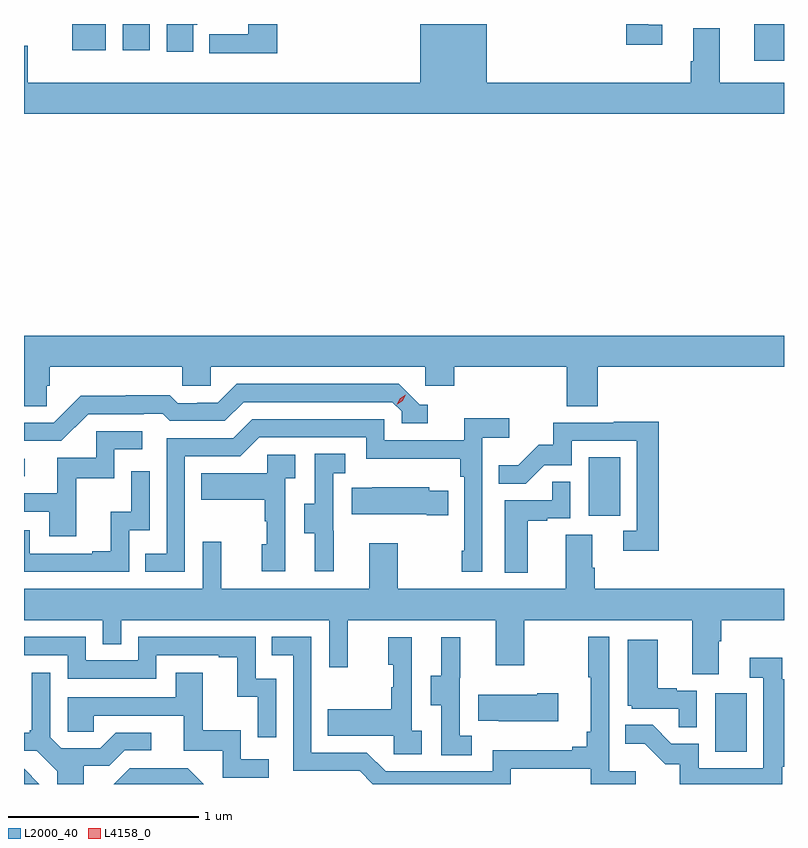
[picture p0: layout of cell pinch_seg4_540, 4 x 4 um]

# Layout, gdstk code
import gdstk
lib = gdstk.Library(unit=1e-6, precision=1e-09)
def R(c, l, rs):  # rectangles x0, y0, x1, y1
    for r in rs: c.add(gdstk.rectangle(r[:2], r[2:], *l))
def P(c, l, *ps):  # polygons
    for p in ps: c.add(gdstk.Polygon(p, *l))
L2000_40 = (2000, 40)
L4158_0 = (4158, 0)

pinch_seg4_540 = lib.new_cell('pinch_seg4_540')
R(pinch_seg4_540, L2000_40, [(1123.514,784.14,1123.678,784.447), (1122.848,785.382,1123.012,785.689), (1119.875,785.589,1119.88,785.682), (1123.718,787.776,1123.875,787.969), (1120.13,787.832,1120.306,787.969), (1120.394,787.832,1120.537,787.969)])
P(pinch_seg4_540, L2000_40, [(1120.765,787.965),(1120.786,787.965),(1120.786,787.969),(1120.625,787.969),(1120.625,787.824),(1120.765,787.824)],
  [(1123.234,787.965),(1123.161,787.965),(1123.161,787.969),(1123.045,787.969),(1123.045,787.86),(1123.234,787.86)],
  [(1123.875,787.66),(1123.537,787.66),(1123.537,787.946),(1123.397,787.946),(1123.397,787.772),(1123.385,787.772),(1123.385,787.66),(1122.31,787.66),(1122.31,787.969),(1121.96,787.969),(1121.96,787.66),(1119.895,787.66),(1119.895,787.855),(1119.875,787.855),(1119.875,787.496),(1123.875,787.496)],
  [(1121.207,787.969),(1121.056,787.969),(1121.056,787.916),(1120.851,787.916),(1120.851,787.814),(1121.207,787.814)],
  [(1119.995,786.066),(1120.01,786.066),(1120.01,786.164),(1120.707,786.164),(1120.707,786.066),(1120.857,786.066),(1120.857,786.164),(1121.988,786.164),(1121.988,786.066),(1122.14,786.066),(1122.14,786.164),(1122.731,786.164),(1122.731,785.956),(1122.896,785.956),(1122.896,786.164),(1123.875,786.164),(1123.875,786.328),(1119.875,786.328),(1119.875,785.956),(1119.995,785.956)],
  [(1120.212,785.916),(1120.505,785.916),(1120.505,785.919),(1120.604,785.919),(1120.643,785.88),(1120.932,785.88),(1121.031,785.979),(1121.814,785.979),(1121.862,785.931),(1121.862,785.868),(1122.001,785.868),(1122.001,785.964),(1121.958,785.964),(1121.847,786.075),(1120.994,786.075),(1120.895,785.976),(1120.788,785.976),(1120.788,785.973),(1120.685,785.973),(1120.643,786.016),(1120.41,786.016),(1120.41,786.013),(1120.174,786.013),(1120.032,785.871),(1119.875,785.871),(1119.875,785.775),(1120.071,785.775)],
  [(1120.722,785.694),(1121.013,785.694),(1121.112,785.793),(1121.676,785.793),(1121.676,785.681),(1122.172,785.681),(1122.172,785.585),(1122.192,785.585),(1122.192,785.197),(1122.18,785.197),(1122.18,785.085),(1122.288,785.085),(1122.288,785.792),(1122.43,785.792),(1122.43,785.894),(1122.191,785.894),(1122.191,785.778),(1121.772,785.778),(1121.772,785.889),(1121.075,785.889),(1120.976,785.79),(1120.626,785.79),(1120.626,785.181),(1120.513,785.181),(1120.513,785.085),(1120.722,785.085)],
  [(1123.217,785.876),(1122.979,785.876),(1122.979,785.871),(1122.661,785.871),(1122.661,785.754),(1122.584,785.754),(1122.477,785.647),(1122.373,785.647),(1122.373,785.548),(1122.516,785.548),(1122.614,785.646),(1122.759,785.646),(1122.759,785.775),(1123.101,785.775),(1123.101,785.301),(1123.029,785.301),(1123.029,785.196),(1123.217,785.196)],
  [(1120.151,785.577),(1120.35,785.577),(1120.35,785.73),(1120.498,785.73),(1120.498,785.826),(1120.254,785.826),(1120.254,785.685),(1120.049,785.685),(1120.049,785.499),(1119.875,785.499),(1119.875,785.403),(1120.007,785.403),(1120.007,785.274),(1120.151,785.274)],
  [(1121.504,785.301),(1121.502,785.301),(1121.502,785.605),(1121.566,785.605),(1121.566,785.708),(1121.406,785.708),(1121.406,785.445),(1121.351,785.445),(1121.351,785.29),(1121.405,785.29),(1121.405,785.088),(1121.504,785.088)],
  [(1121.25,785.579),(1121.302,785.579),(1121.302,785.703),(1121.154,785.703),(1121.154,785.605),(1120.807,785.605),(1120.807,785.465),(1121.142,785.465),(1121.142,785.351),(1121.152,785.351),(1121.152,785.232),(1121.126,785.232),(1121.126,785.088),(1121.25,785.088)],
  [(1120.428,785.304),(1120.536,785.304),(1120.536,785.614),(1120.44,785.614),(1120.44,785.402),(1120.331,785.402),(1120.331,785.194),(1120.235,785.194),(1120.235,785.181),(1119.906,785.181),(1119.906,785.304),(1119.875,785.304),(1119.875,785.085),(1120.428,785.085)],
  [(1122.526,785.355),(1122.629,785.355),(1122.629,785.367),(1122.75,785.367),(1122.75,785.561),(1122.655,785.561),(1122.655,785.463),(1122.404,785.463),(1122.404,785.081),(1122.526,785.081)],
  [(1122.107,785.512),(1122.009,785.512),(1122.009,785.53),(1121.707,785.53),(1121.707,785.527),(1121.599,785.527),(1121.599,785.39),(1121.996,785.39),(1121.996,785.383),(1122.107,785.383)],
  [(1121.693,785.236),(1121.693,784.996),(1120.913,784.996),(1120.913,785.245),(1120.815,785.245),(1120.815,784.996),(1119.875,784.996),(1119.875,784.832),(1120.29,784.832),(1120.29,784.705),(1120.386,784.705),(1120.386,784.832),(1121.481,784.832),(1121.481,784.584),(1121.579,784.584),(1121.579,784.832),(1122.359,784.832),(1122.359,784.593),(1122.507,784.593),(1122.507,784.832),(1123.391,784.832),(1123.391,784.546),(1123.531,784.546),(1123.531,784.72),(1123.544,784.72),(1123.544,784.832),(1123.875,784.832),(1123.875,784.996),(1122.878,784.996),(1122.878,785.108),(1122.865,785.108),(1122.865,785.282),(1122.725,785.282),(1122.725,784.996),(1121.841,784.996),(1121.841,785.236)],
  [(1122.438,784.05),(1122.857,784.05),(1122.857,783.969),(1123.096,783.969),(1123.096,784.036),(1122.954,784.036),(1122.954,784.744),(1122.846,784.744),(1122.846,784.531),(1122.857,784.531),(1122.857,784.243),(1122.838,784.243),(1122.838,784.166),(1122.761,784.166),(1122.761,784.147),(1122.342,784.147),(1122.342,784.035),(1121.778,784.035),(1121.679,784.134),(1121.388,784.134),(1121.388,784.743),(1121.179,784.743),(1121.179,784.647),(1121.292,784.647),(1121.292,784.038),(1121.642,784.038),(1121.711,783.969),(1122.438,783.969)],
  [(1121.202,784.524),(1121.094,784.524),(1121.094,784.743),(1120.476,784.743),(1120.476,784.62),(1120.2,784.62),(1120.2,784.743),(1119.875,784.743),(1119.875,784.647),(1120.104,784.647),(1120.104,784.524),(1120.572,784.524),(1120.572,784.647),(1120.901,784.647),(1120.901,784.635),(1120.997,784.635),(1120.997,784.427),(1121.106,784.427),(1121.106,784.215),(1121.202,784.215)],
  [(1122.232,784.223),(1122.168,784.223),(1122.168,784.527),(1122.17,784.527),(1122.17,784.741),(1122.071,784.741),(1122.071,784.539),(1122.017,784.539),(1122.017,784.384),(1122.072,784.384),(1122.072,784.12),(1122.232,784.12)],
  [(1121.968,784.25),(1121.916,784.25),(1121.916,784.741),(1121.792,784.741),(1121.792,784.596),(1121.818,784.596),(1121.818,784.478),(1121.808,784.478),(1121.808,784.363),(1121.473,784.363),(1121.473,784.223),(1121.82,784.223),(1121.82,784.125),(1121.968,784.125)],
  [(1123.416,784.461),(1123.31,784.461),(1123.31,784.474),(1123.21,784.474),(1123.21,784.729),(1123.052,784.729),(1123.052,784.38),(1123.074,784.38),(1123.074,784.365),(1123.321,784.365),(1123.321,784.267),(1123.416,784.267)],
  [(1123.865,784.06),(1123.875,784.06),(1123.875,784.52),(1123.865,784.52),(1123.865,784.633),(1123.695,784.633),(1123.695,784.527),(1123.767,784.527),(1123.767,784.053),(1123.425,784.053),(1123.425,784.182),(1123.281,784.182),(1123.183,784.28),(1123.039,784.28),(1123.039,784.181),(1123.143,784.181),(1123.25,784.074),(1123.327,784.074),(1123.327,783.969),(1123.865,783.969)],
  [(1120.189,784.066),(1120.324,784.066),(1120.404,784.146),(1120.546,784.146),(1120.546,784.239),(1120.358,784.239),(1120.277,784.158),(1120.071,784.158),(1120.014,784.215),(1120.014,784.555),(1119.917,784.555),(1119.917,784.252),(1119.906,784.252),(1119.906,784.24),(1119.875,784.24),(1119.875,784.143),(1119.942,784.143),(1120.049,784.036),(1120.049,783.969),(1120.189,783.969)],
  [(1121.164,784.098),(1121.016,784.098),(1121.016,784.252),(1120.817,784.252),(1120.817,784.555),(1120.673,784.555),(1120.673,784.425),(1120.104,784.425),(1120.104,784.245),(1120.241,784.245),(1120.241,784.329),(1120.715,784.329),(1120.715,784.143),(1120.92,784.143),(1120.92,784.002),(1121.164,784.002)],
  [(1122.688,784.446),(1122.575,784.446),(1122.575,784.438),(1122.265,784.438),(1122.265,784.301),(1122.373,784.301),(1122.373,784.298),(1122.688,784.298)],
  [(1120.737,784.053),(1120.431,784.053),(1120.347,783.969),(1120.821,783.969)],
  [(1119.875,784.048),(1119.875,783.969),(1119.954,783.969)])
P(pinch_seg4_540, L4158_0, [(1121.838,785.965),(1121.838,785.965),(1121.854,785.998),(1121.884,786.018),(1121.884,786.018),(1121.884,786.018),(1121.869,785.985),(1121.838,785.965)])

lib.write_gds('pinch_seg4_540.gds')
